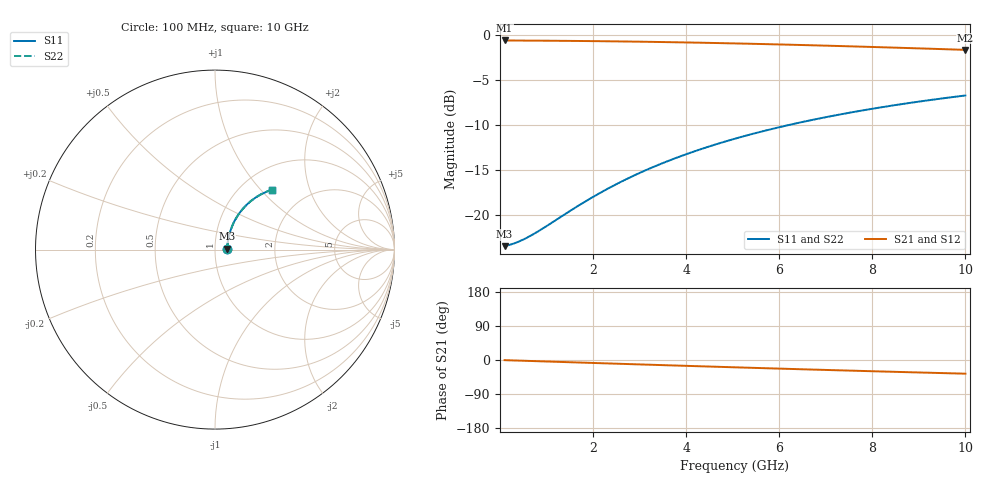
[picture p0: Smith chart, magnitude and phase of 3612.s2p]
# Hz S RI R 50.00
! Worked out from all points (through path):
!   100 points, 100 MHz to 10 GHz, reference 50 ohm
!   highest |S21| = -0.60 dB at 100 MHz (marker M1); lowest = -1.6 dB at 10 GHz (marker M2)
!   group delay of S21, straight-line fit = 10.1 ps
!   lowest |S11| = -23.4 dB at 100 MHz (marker M3), VSWR 1.14, Z = 57.2 + j0.559 ohm
!   |S11| at or under -10 dB: start of sweep to 6.198 GHz
!   |S22| runs from -23.4 to -6.7 dB; largest |S21 - S12| = 0
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1e8  0.0671 0.00487  0.9329 -0.00638  0.9329 -0.00638  0.0671 0.00487
3e8  0.0681 0.0146  0.9319 -0.0191  0.9319 -0.0191  0.0681 0.0146
4e8  0.0686 0.0194  0.9314 -0.0255  0.9314 -0.0255  0.0686 0.0194
5e8  0.0691 0.0242  0.9309 -0.0318  0.9309 -0.0318  0.0691 0.0242
7e8  0.0702 0.0339  0.9297 -0.0445  0.9297 -0.0445  0.0702 0.0339
9e8  0.0716 0.0435  0.9283 -0.0571  0.9283 -0.0571  0.0716 0.0435
1.5e9  0.0769 0.0719  0.9228 -0.0947  0.9228 -0.0947  0.0769 0.0719
1.8e9  0.0804 0.0859  0.9192 -0.1132  0.9192 -0.1132  0.0804 0.0859
2.2e9  0.0859 0.1043  0.9135 -0.1376  0.9135 -0.1376  0.0859 0.1043
2.6e9  0.0922 0.1222  0.9069 -0.1617  0.9069 -0.1617  0.0922 0.1222
3e9  0.0995 0.1397  0.8994 -0.1852  0.8994 -0.1852  0.0995 0.1397
3.4e9  0.1076 0.1566  0.8909 -0.2083  0.8909 -0.2083  0.1076 0.1566
3.8e9  0.1166 0.173  0.8817 -0.2307  0.8817 -0.2307  0.1166 0.173
4.2e9  0.1263 0.1887  0.8716 -0.2526  0.8716 -0.2526  0.1263 0.1887
4.6e9  0.1367 0.2038  0.8608 -0.2738  0.8608 -0.2738  0.1367 0.2038
5.1e9  0.1506 0.2217  0.8462 -0.2993  0.8462 -0.2993  0.1506 0.2217
5.9e9  0.1748 0.248  0.821 -0.3379  0.821 -0.3379  0.1748 0.248
6.7e9  0.2008 0.2712  0.7937 -0.3733  0.7937 -0.3733  0.2008 0.2712
7.5e9  0.2283 0.2912  0.7648 -0.4057  0.7648 -0.4057  0.2283 0.2912
8.4e9  0.2605 0.3099  0.7309 -0.4384  0.7309 -0.4384  0.2605 0.3099
9.2e9  0.2896 0.3233  0.7 -0.4642  0.7 -0.4642  0.2896 0.3233
1e10  0.319 0.3337  0.6686 -0.4871  0.6686 -0.4871  0.319 0.3337
